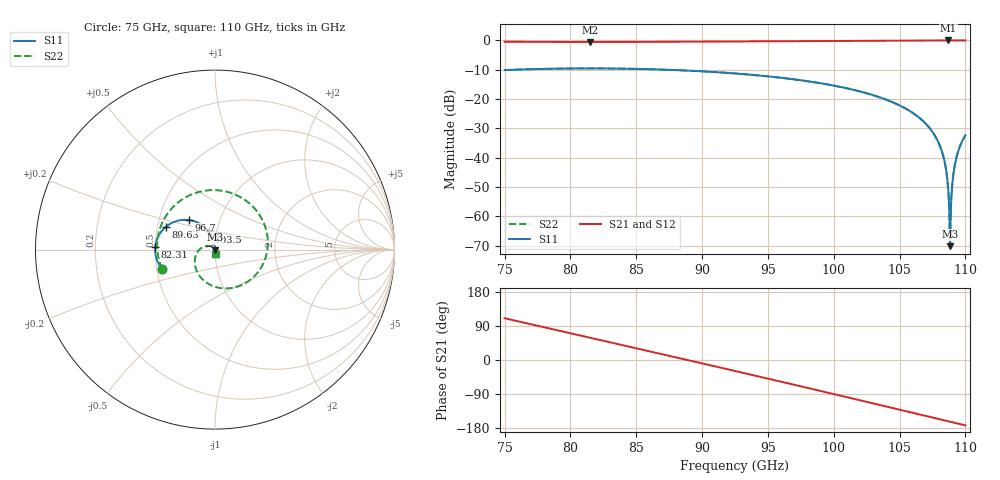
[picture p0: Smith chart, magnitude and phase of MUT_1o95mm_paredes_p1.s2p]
! TOUCHSTONE file generated by CST MICROWAVE STUDIO
! Date and time: Tue Feb 13 12:52:20 2024
! Project name: material_pared.cst
! Header version: 2018
! Port assignment regex: !\s*Touchstone port\s*([0-9]+)\s*=\s*(CST MWS port|CST DS port)\s*([0-9]+|Zmin|Zmax)\s*\(\"(.*)\"\)(\s*mode\s*([0-9]+))?.*
! Touchstone port assignment:
! Touchstone port 1 = CST MWS port 1 ("")
! Touchstone port 2 = CST MWS port 2 ("")
# GHz S MA R 376.7
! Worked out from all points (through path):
!   1001 points, 75 GHz to 110 GHz, reference 376.7 ohm
!   highest |S21| = 0.00 dB at 108.7 GHz (marker M1); lowest = -0.5 dB at 81.47 GHz (marker M2)
!   group delay of S21, straight-line fit = 22.4 ps
!   lowest |S11| = -70.1 dB at 108.8 GHz (marker M3), VSWR 1.00, Z = 376 - j0.0999 ohm
!   |S11| at or under -10 dB: start of sweep to 75.57 GHz; 87.41 GHz to end of sweep
!   |S22| runs from -67.1 to -9.5 dB; largest |S21 - S12| = 0
!   S11 on the Smith chart (normalised r, x): 75 GHz: 0.54, -0.13; 82.31 GHz: 0.50, +0.02; 89.63 GHz: 0.56, +0.16; 96.7 GHz: 0.71, +0.25; 103.5 GHz: 0.92, +0.19; 110 GHz: 0.99, -0.05
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75  0.3127 -159.4  0.9499 110.2  0.9499 110.2  0.3127 -160.1
77.905  0.3274 -168.6  0.9449 87.1  0.9449 87.1  0.3274 162.8
80.845  0.3336 -177.7  0.9427 63.8  0.9427 63.8  0.3336 125.4
81.475  0.3338 -179.7  0.9426 58.8  0.9426 58.8  0.3338 117.4
82.315  0.3335 177.7  0.9428 52.2  0.9428 52.2  0.3335 106.7
86.69  0.3202 164.0  0.9473 17.5  0.9473 17.5  0.3202 51.0
89.63  0.3008 154.7  0.9537 -5.9  0.9537 -5.9  0.3008 13.4
92.5  0.2739 145.5  0.9618 -28.9  0.9618 -28.9  0.2739 -23.4
96.7  0.2214 131.8  0.9752 -62.9  0.9752 -62.9  0.2214 -77.6
98.345  0.1968 126.3  0.9804 -76.3  0.9804 -76.3  0.1968 -98.9
103.525  0.1067 108.7  0.9943 -118.9  0.9943 -118.9  0.1069 -166.4
104.19  0.09397 106.5  0.9956 -124.4  0.9956 -124.4  0.09411 -175.1
106.29  0.05236 99.3  0.9986 -141.7  0.9986 -141.7  0.05238 157.2
107.655  0.0245 94.8  0.9997 -153.1  0.9997 -153.1  0.02432 139.0
108.39  0.009318 93.3  1 -159.2  1 -159.2  0.009064 128.2
108.565  0.005691 93.8  1 -160.6  1 -160.6  0.00543 124.7
108.705  0.002791 96.3  1 -161.8  1 -161.8  0.00253 119.4
108.845  0.0003113 -154.8  1 -162.9  1 -162.9  0.0004871 -19.7
108.95  0.002334 -97.3  1 -163.8  1 -163.8  0.002588 -50.9
109.09  0.005238 -94.0  1 -165.0  1 -165.0  0.005482 -56.1
109.3  0.00961 -93.3  1 -166.7  1 -166.7  0.009826 -60.2
110  0.02422 -94.8  0.9997 -172.5  0.9997 -172.5  0.02422 -70.2
